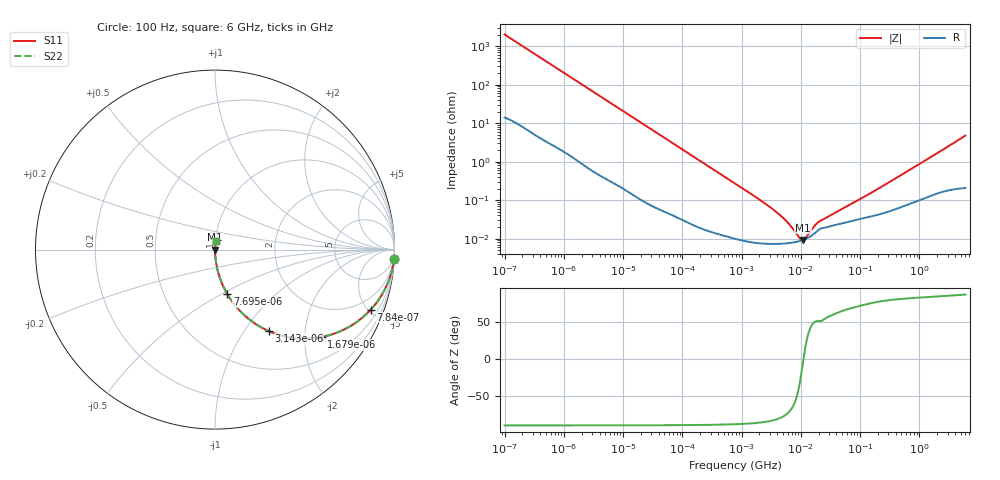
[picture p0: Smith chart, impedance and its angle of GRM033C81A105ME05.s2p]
!Murata Part Number: GRM033C81A105ME05
!These Parameters are Measured in Series Mode Connection
!Data Generated on Mar 30, 2021
!  o--ll--o
!Port1  Port2
!  o------o
!Operation Temp=25[degC], DC Bias Voltage=0[V]
!Freq. Start=100[Hz] Stop=6[GHz] 401[Steps]
# Hz S RI R 50
!Freq.(Hz) S11(Real) S11(Imag) S21(Real) S21(Imag) S12(Real) S12(Imag) S22(Real) S22(Imag)
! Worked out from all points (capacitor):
!   401 points, 100 Hz to 6 GHz, reference 50 ohm
!   read as one part in series: C = 791 nF near 109 Hz
!   lowest |Z| = 9.26 mohm at 10.87 MHz (marker M1)
!   series resonance near 11.07 MHz, so ESL is about 260 pH
!   S11 on the Smith chart (normalised r, x): 100 Hz: 1, -40; 784 Hz: 1.04, -5.18; 1.679 kHz: 1.02, -2.43; 3.143 kHz: 1.01, -1.30; 7.695 kHz: 1.01, -0.53; 6 GHz: 1.00, +0.09
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100  0.9972 -0.0497  0.00282 0.0497  0.00282 0.0497  0.9972 -0.0497
293  0.9783 -0.1417  0.0217 0.1417  0.0217 0.1417  0.9783 -0.1417
501  0.9406 -0.2323  0.0594 0.2323  0.0594 0.2323  0.9406 -0.2323
784  0.868 -0.3342  0.132 0.3342  0.132 0.3342  0.868 -0.3342
1174  0.7485 -0.4294  0.2515 0.4294  0.2515 0.4294  0.7485 -0.4294
1679  0.5953 -0.4865  0.4047 0.4865  0.4047 0.4865  0.5953 -0.4865
2008  0.5082 -0.4956  0.4918 0.4956  0.4918 0.4956  0.5082 -0.4956
3143  0.2992 -0.4537  0.7008 0.4537  0.7008 0.4537  0.2992 -0.4537
4918  0.1503 -0.353  0.8497 0.353  0.8497 0.353  0.1503 -0.353
7695  0.0686 -0.2482  0.9314 0.2482  0.9314 0.2482  0.0686 -0.2482
16473  0.0166 -0.1231  0.9834 0.1231  0.9834 0.1231  0.0166 -0.1231
40335  0.00321 -0.0512  0.9968 0.0512  0.9968 0.0512  0.00321 -0.0512
774597  0.000107 -0.00273  0.9999 0.00273  0.9999 0.00273  0.000107 -0.00273
3882480  7.32e-05 -0.000483  0.9999 0.000483  0.9999 0.000483  7.32e-05 -0.000483
6075234  7.62e-05 -0.000246  0.9999 0.000246  0.9999 0.000246  7.62e-05 -0.000246
9090158  8.49e-05 -7.61e-05  0.9999 7.61e-05  0.9999 7.61e-05  8.49e-05 -7.61e-05
1.087309e7  9.23e-05 -6.7e-06  0.9999 6.7e-06  0.9999 6.7e-06  9.23e-05 -6.7e-06
1.243624e7  0.0001 4.48e-05  0.9999 -4.48e-05  0.9999 -4.48e-05  0.0001 4.48e-05
1.555665e7  0.000123 0.000131  0.9999 -0.000131  0.9999 -0.000131  0.000123 0.000131
2.128304e7  0.00018 0.000228  0.9998 -0.000228  0.9998 -0.000228  0.00018 0.000228
3.124326e8  0.000519 0.00289  0.9995 -0.00289  0.9995 -0.00289  0.000519 0.00289
6e9  0.0043 0.0472  0.9957 -0.0472  0.9957 -0.0472  0.0043 0.0472
